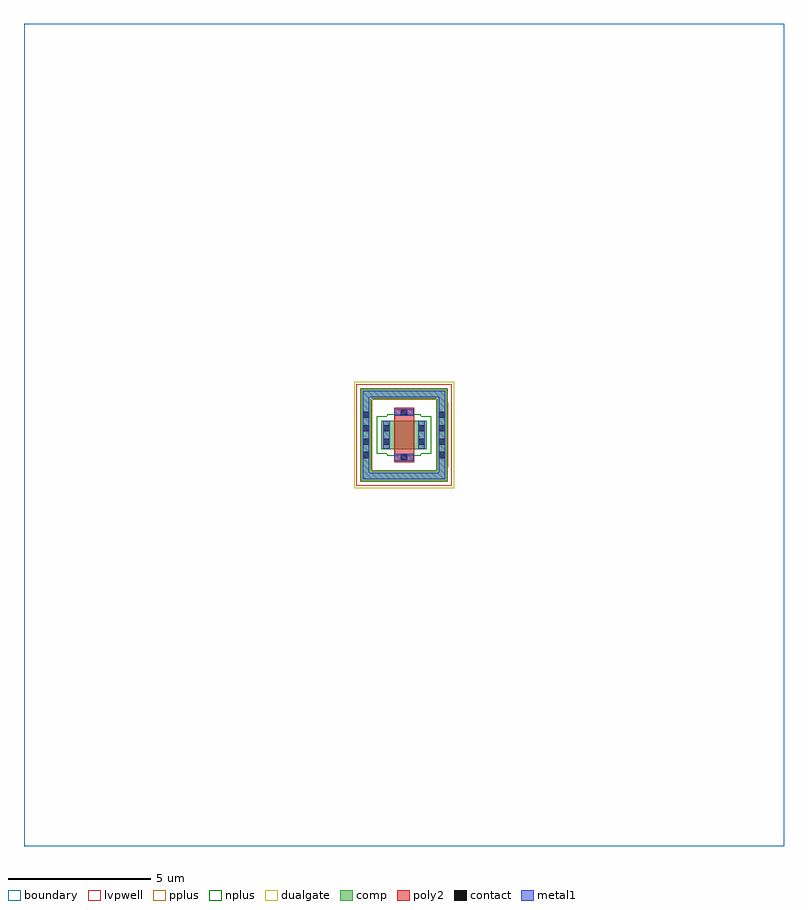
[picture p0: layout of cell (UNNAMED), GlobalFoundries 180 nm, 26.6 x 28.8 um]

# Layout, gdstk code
import gdstk
lib = gdstk.Library(unit=1e-6, precision=1e-09)
def R(c, l, rs):  # rectangles x0, y0, x1, y1
    for r in rs: c.add(gdstk.rectangle(r[:2], r[2:], *l))
def A(c, l, x, y, w, h, nx, ny, dx, dy):  # array of equal rectangles
    R(c, l, [(x+i*dx, y+j*dy, x+i*dx+w, y+j*dy+h) for i in range(nx) for j in range(ny)])
boundary = (0, 0)
comp = (22, 0)
poly2 = (30, 0)
pplus = (31, 0)
nplus = (32, 0)
contact = (33, 0)
metal1 = (34, 0)
dualgate = (55, 0)
lvpwell = (204, 0)

c__unnamed_ = lib.new_cell('(UNNAMED)')
R(c__unnamed_, boundary, [(-13.3,-14.4,13.3,14.4)])
R(c__unnamed_, comp, [(-1.51,-1.62,1.51,-1.26), (-1.51,-1.26,-1.15,1.26), (1.15,-1.26,1.51,1.26), (-0.79,-0.5,0.79,0.5), (-1.51,1.26,1.51,1.62)])
R(c__unnamed_, poly2, [(-0.35,-0.96,0.35,0.96)])
R(c__unnamed_, pplus, [(-1.53,-1.64,1.53,-1.24), (-1.53,-1.24,-1.12,-1.135), (1.12,-1.24,1.53,-1.135), (-1.54,-1.135,-1.12,1.135), (1.12,-1.135,1.54,1.135), (-1.53,1.135,-1.12,1.24), (1.12,1.135,1.53,1.24), (-1.53,1.24,1.53,1.64)])
R(c__unnamed_, nplus, [(-0.58,-0.73,0.58,-0.66), (-0.95,-0.66,0.95,0.66), (-0.58,0.66,0.58,0.73)])
A(c__unnamed_, contact, -1.44, -0.815, 0.22, 0.22, 1, 4, 0, 0.47)
A(c__unnamed_, contact, 1.22, -0.815, 0.22, 0.22, 1, 4, 0, 0.47)
R(c__unnamed_, contact, [(-0.11,-0.89,0.11,-0.67), (-0.72,-0.345,-0.5,-0.125), (0.5,-0.345,0.72,-0.125), (-0.72,0.125,-0.5,0.345), (0.5,0.125,0.72,0.345), (-0.11,0.67,0.11,0.89)])
R(c__unnamed_, metal1, [(-1.445,-1.555,1.445,-1.325), (-1.445,-1.325,-1.215,1.325), (1.215,-1.325,1.445,1.325), (-0.34,-0.895,0.34,-0.665), (-0.725,-0.49,-0.495,0.49), (0.495,-0.49,0.725,0.49), (-0.34,0.665,0.34,0.895), (-1.445,1.325,1.445,1.555)])
R(c__unnamed_, dualgate, [(-1.75,-1.86,1.75,1.86)])
R(c__unnamed_, lvpwell, [(-1.67,-1.78,1.67,1.78)])

lib.write_gds('_UNNAMED_.gds')
